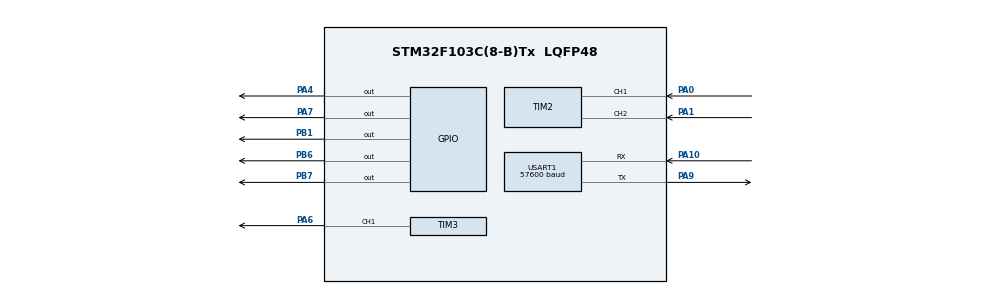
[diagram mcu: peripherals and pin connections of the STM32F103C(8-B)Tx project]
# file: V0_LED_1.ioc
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FREERTOS.Tasks01=my_Task,24,128,StartmyTask,Default,NULL,Dynamic,NULL,NULL
FREERTOS.configCHECK_FOR_STACK_OVERFLOW=2
FREERTOS.configTOTAL_HEAP_SIZE=8192
IWDG.Prescaler=IWDG_PRESCALER_64
IWDG.Reload=624
Mcu.Family=STM32F1
Mcu.Name=STM32F103C(8-B)Tx
Mcu.Package=LQFP48
NVIC.PriorityGroup=NVIC_PRIORITYGROUP_4
NVIC.TIM4_IRQn=true\:15\:0\:false\:false\:true\:false\:false\:true\:true
NVIC.TimeBase=TIM4_IRQn
NVIC.TimeBaseIP=TIM4
NVIC.USART1_IRQn=true\:5\:0\:false\:false\:true\:true\:true\:true\:true
PA0-WKUP.GPIO_PuPd=GPIO_PULLUP
PA0-WKUP.Signal=S_TIM2_CH1_ETR
PA1.GPIO_PuPd=GPIO_PULLUP
PA1.Signal=S_TIM2_CH2
PA10.Mode=Asynchronous
PA10.Signal=USART1_RX
PA13.Mode=Serial_Wire
PA13.Signal=SYS_JTMS-SWDIO
PA14.Mode=Serial_Wire
PA14.Signal=SYS_JTCK-SWCLK
PA4.GPIO_PuPd=GPIO_PULLUP
PA4.Signal=GPIO_Output
PA6.Signal=S_TIM3_CH1
PA7.GPIO_PuPd=GPIO_PULLUP
PA7.Signal=GPIO_Output
PA9.Mode=Asynchronous
PA9.Signal=USART1_TX
PB1.GPIO_PuPd=GPIO_PULLUP
PB1.Signal=GPIO_Output
PB6.GPIO_ModeDefaultOutputPP=GPIO_MODE_OUTPUT_OD
PB6.GPIO_PuPd=GPIO_PULLUP
PB6.GPIO_Speed=GPIO_SPEED_FREQ_HIGH
PB6.PinState=GPIO_PIN_SET
PB6.Signal=GPIO_Output
PB7.GPIO_ModeDefaultOutputPP=GPIO_MODE_OUTPUT_OD
PB7.GPIO_PuPd=GPIO_PULLUP
PB7.GPIO_Speed=GPIO_SPEED_FREQ_HIGH
PB7.PinState=GPIO_PIN_SET
PB7.Signal=GPIO_Output
PD0-OSC_IN.Mode=HSE-External-Oscillator
PD0-OSC_IN.Signal=RCC_OSC_IN
PD1-OSC_OUT.Mode=HSE-External-Oscillator
PD1-OSC_OUT.Signal=RCC_OSC_OUT
ProjectManager.HeapSize=0x200
ProjectManager.StackSize=0x400
ProjectManager.TargetToolchain=MDK-ARM V5.32
RCC.APB1Freq_Value=8000000
RCC.APB2Freq_Value=8000000
SH.S_TIM2_CH1_ETR.0=TIM2_CH1,Encoder_Interface
SH.S_TIM2_CH2.0=TIM2_CH2,Encoder_Interface
SH.S_TIM3_CH1.0=TIM3_CH1,PWM Generation1 CH1
TIM2.EncoderMode=TIM_ENCODERMODE_TI12
TIM3.AutoReloadPreload=TIM_AUTORELOAD_PRELOAD_ENABLE
TIM3.Channel-PWM\ Generation1\ CH1=TIM_CHANNEL_1
TIM3.Period=49
TIM3.Prescaler=7
USART1.BaudRate=57600
USART1.VirtualMode=VM_ASYNC
VP_FREERTOS_VS_CMSIS_V2.Mode=CMSIS_V2
VP_IWDG_VS_IWDG.Mode=IWDG_Activate
VP_SYS_VS_tim4.Mode=TIM4
board=custom

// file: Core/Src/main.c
/* USER CODE BEGIN Header */
/**
  ******************************************************************************
  * @file           : main.c
  * @brief          : Main program body
  ******************************************************************************
  * @attention
  *
  * Copyright (c) 2026 STMicroelectronics.
  * All rights reserved.
  *
  * This software is licensed under terms that can be found in the LICENSE file
  * in the root directory of this software component.
  * If no LICENSE file comes with this software, it is provided AS-IS.
  *
  ******************************************************************************
  */
/* USER CODE END Header */
#include "main.h"
#include "cmsis_os.h"

/* USER CODE BEGIN Includes */
#include <string.h>
#include <stdlib.h>
#include "FreeRTOS.h"
#include "task.h"
#include "semphr.h"
#include "ssd1306.h"
/* USER CODE END Includes */

/* USER CODE BEGIN PTD */
typedef struct { uint8_t x, y; } SnakePoint;
/* USER CODE END PTD */

/* USER CODE BEGIN PD */
#define GRID_W      16          /* game field: 16 x 7 cells (top 8px row = score) */
#define GRID_H      7
#define SNAKE_MAX   (GRID_W * GRID_H)
#define TURN_THRESH  3          /* encoder counts per turn decision */
#define TURN_LOCK_MS 200        /* debounce: ignore re-turns for this long */
#define START_SPEED_MS 200      /* ms per step, speeds up as score grows */
#define MIN_SPEED_MS    60
/* USER CODE END PD */

IWDG_HandleTypeDef hiwdg;

TIM_HandleTypeDef htim2;
TIM_HandleTypeDef htim3;

UART_HandleTypeDef huart1;

/* Definitions for my_Task */
osThreadId_t my_TaskHandle;
const osThreadAttr_t my_Task_attributes = {
  .name = "my_Task",
  .stack_size = 128 * 4,
  .priority = (osPriority_t) osPriorityNormal,
};
/* USER CODE BEGIN PV */
//=== Snake game state (SnakeControl writes, DisplayTask reads) ===
SnakePoint g_snake[SNAKE_MAX];
uint8_t    g_snake_len;
uint8_t    g_dir;             // 0=右 1=下 2=左 3=上
SnakePoint g_food;
uint16_t   g_score;
uint16_t   g_speed_ms;        // ms per step, 200 start -> 60 min
uint8_t    g_state;           // 0=PLAYING 1=GAME_OVER
/* USER CODE END PV */

void SystemClock_Config(void);
static void MX_GPIO_Init(void);
static void MX_TIM3_Init(void);
static void MX_TIM2_Init(void);
static void MX_USART1_UART_Init(void);
static void MX_IWDG_Init(void);
void StartmyTask(void *argument);

/* USER CODE BEGIN PFP */
void SnakeControlTask(void *argument);
void CommTask(void *argument);
void DiagTask(void *argument);
void DisplayTask(void *argument);
void snake_init(void);
void snake_step(void);
void spawn_food(void);
static uint8_t food_on_snake(void);
/* USER CODE END PFP */

/* USER CODE BEGIN 0 */
void uart_send_str(const char *s)
{
    while (*s)
    {
        HAL_UART_Transmit(&huart1, (uint8_t *)s, 1, 10);
        s++;
    }
}
// send a signed int16 as ASCII digits
void uart_print_int(int16_t val)
{
    char buf[12];
    int i = 0;
    int neg = 0;

    if (val < 0)
    {
        neg = 1;
        val = -val;
    }

    if (val == 0)
    {
        buf[i++] = '0';
    }
    else
    {
        while (val > 0)
        {
            buf[i++] = '0' + (val % 10);
            val = val / 10;
        }
    }

    if (neg)
        buf[i++] = '-';

    // reverse digit order
    int start = 0, end = i - 1;
    while (start < end)
    {
        char tmp = buf[start];
        buf[start] = buf[end];
        buf[end] = tmp;
        start++;
        end--;
    }

    buf[i] = '\0';
    HAL_UART_Transmit(&huart1, (uint8_t *)buf, i, 10);
}

//==== Snake game logic ========================================================
void snake_init(void)
{
    g_snake_len = 3;
    g_snake[0].x = 8; g_snake[0].y = 3;
    g_snake[1].x = 7; g_snake[1].y = 3;
    g_snake[2].x = 6; g_snake[2].y = 3;
    g_dir       = 0;              // 向右
    g_score     = 0;
    g_speed_ms  = START_SPEED_MS;
    g_state     = 0;              // PLAYING
    spawn_food();
}

// 伪随机生成食物，落在空格里（FreeRTOS tick 做熵源 + LCG）
void spawn_food(void)
{
    uint32_t seed = xTaskGetTickCount();
    for (uint16_t tries = 0; tries < 200; tries++)
    {
        seed = seed * 1103515245u + 12345u;    // LCG
        g_food.x = (uint8_t)((seed >> 8)  % GRID_W);
        g_food.y = (uint8_t)((seed >> 16) % GRID_H);
        if (!food_on_snake()) return;
    }
    // 兜底：200 次都撞上蛇的概率极低，扫第一个空格
    for (uint8_t y = 0; y < GRID_H; y++)
        for (uint8_t x = 0; x < GRID_W; x++)
        {
            g_food.x = x; g_food.y = y;
            if (!food_on_snake()) return;
        }
}

static uint8_t food_on_snake(void)
{
    for (uint8_t i = 0; i < g_snake_len; i++)
        if (g_snake[i].x == g_food.x && g_snake[i].y == g_food.y) return 1;
    return 0;
}

// 前进一格。撞墙/撞自己 -> GAME_OVER；吃到食物 -> 长+1、分+1、加速、换食物
void snake_step(void)
{
    int16_t nx = g_snake[0].x, ny = g_snake[0].y;
    switch (g_dir)
    {
        case 0: nx++; break;    // 右
        case 1: ny++; break;    // 下
        case 2: nx--; break;    // 左
        case 3: ny--; break;    // 上
    }
    if (nx < 0 || nx >= GRID_W || ny < 0 || ny >= GRID_H) { g_state = 1; return; }

    uint8_t eat = (nx == g_food.x && ny == g_food.y);
    // 撞自己：吃到食物时尾巴保留，查全身；否则尾巴这步会移走，不查它
    uint8_t body = eat ? g_snake_len : (uint8_t)(g_snake_len - 1);
    for (uint8_t i = 0; i < body; i++)
        if (g_snake[i].x == nx && g_snake[i].y == ny) { g_state = 1; return; }

    // 头插入，尾丢弃（吃到时长度+1，尾巴保留）。蛇最长 SNAKE_MAX 格，
    // 满格时移位会写 g_snake[SNAKE_MAX]（越界1），已满则视为胜利结束。
    if (g_snake_len >= SNAKE_MAX) { g_state = 1; return; }
    for (uint8_t i = g_snake_len; i > 0; i--) g_snake[i] = g_snake[i - 1];
    g_snake[0].x = (uint8_t)nx;
    g_snake[0].y = (uint8_t)ny;

    if (eat)
    {
        g_snake_len++;
        g_score++;
        if (g_speed_ms > MIN_SPEED_MS) g_speed_ms -= 10;
        spawn_food();
    }
}

/* USER CODE END 0 */

int main(void)
{

  /* MCU Configuration--------------------------------------------------------*/

  /* Reset of all peripherals, Initializes the Flash interface and the Systick. */
  HAL_Init();

  /* Configure the system clock */
  SystemClock_Config();

  /* Initialize all configured peripherals */
  MX_GPIO_Init();
  MX_TIM3_Init();
  MX_TIM2_Init();
  MX_USART1_UART_Init();
  MX_IWDG_Init();
  /* USER CODE BEGIN 2 */
// 编码器清零并启动（TIM2 硬件编码器模式，PA0=A 相 PA1=B 相，来自 JGA25-370）
__HAL_TIM_SET_COUNTER(&htim2, 0);
HAL_TIM_Encoder_Start(&htim2, TIM_CHANNEL_ALL);

// OLED: software I2C on PB6(SCL)/PB7(SDA), powered from 3V3. Init here before
// the scheduler starts (one-shot, <200ms << 1s IWDG timeout). From now on
// DisplayTask is the only owner of the I2C bus.
OLED_Init();

// Report the OLED init result as a banner line (observable self-diagnostic for
// a dead display: a disconnected OLED has no power to show text).
if (g_oled_nack)
    uart_send_str("OLED: FAIL (check VCC/GND/SCL/SDA wiring)\r\n");
else
    uart_send_str("OLED: OK\r\n");

// 初始化贪吃蛇，打启动横幅（串口日志，57600 8N1）
snake_init();
uart_send_str("Snake Start. Rotate motor shaft: CW = turn right, CCW = turn left\r\n");

// Create the application tasks before the scheduler starts (osKernelStart()
// runs below). SnakeControlTask: 20ms 编码器判向 + 游戏状态机; CommTask: 串口
// 事件日志; DiagTask: 心跳 + 喂狗; DisplayTask: OLED 绘制（I2C 唯一主人）。
xTaskCreate(SnakeControlTask, "SnakeCtrl", 256, NULL, 3, NULL);
xTaskCreate(CommTask,         "Comm",      256, NULL, 2, NULL);
xTaskCreate(DiagTask,         "Diag",      128, NULL, 1, NULL);
xTaskCreate(DisplayTask,      "Disp",      256, NULL, 1, NULL);
  /* USER CODE END 2 */

  /* Init scheduler */
  osKernelInitialize();

  /* Create the thread(s) */
  /* creation of my_Task */
  my_TaskHandle = osThreadNew(StartmyTask, NULL, &my_Task_attributes);

  /* Start scheduler */
  osKernelStart();

  /* We should never get here as control is now taken by the scheduler */

  /* Infinite loop */
  while (1)
  {

    /* USER CODE BEGIN 3 */
    // The FreeRTOS scheduler now owns the CPU (osKernelStart() never returns).
    // All application work lives in SnakeControlTask / CommTask / DiagTask /
    // DisplayTask.
}
  /* USER CODE END 3 */
}

void SystemClock_Config(void)
{
  RCC_OscInitTypeDef RCC_OscInitStruct = {0};
  RCC_ClkInitTypeDef RCC_ClkInitStruct = {0};

  /** Initializes the RCC Oscillators according to the specified parameters
  * in the RCC_OscInitTypeDef structure.
  */
  RCC_OscInitStruct.OscillatorType = RCC_OSCILLATORTYPE_HSI|RCC_OSCILLATORTYPE_LSI;
  RCC_OscInitStruct.HSIState = RCC_HSI_ON;
  RCC_OscInitStruct.HSICalibrationValue = RCC_HSICALIBRATION_DEFAULT;
  RCC_OscInitStruct.LSIState = RCC_LSI_ON;
  RCC_OscInitStruct.PLL.PLLState = RCC_PLL_NONE;
  if (HAL_RCC_OscConfig(&RCC_OscInitStruct) != HAL_OK)
  {
    Error_Handler();
  }

  /** Initializes the CPU, AHB and APB buses clocks
  */
  RCC_ClkInitStruct.ClockType = RCC_CLOCKTYPE_HCLK|RCC_CLOCKTYPE_SYSCLK
                              |RCC_CLOCKTYPE_PCLK1|RCC_CLOCKTYPE_PCLK2;
  RCC_ClkInitStruct.SYSCLKSource = RCC_SYSCLKSOURCE_HSI;
  RCC_ClkInitStruct.AHBCLKDivider = RCC_SYSCLK_DIV1;
  RCC_ClkInitStruct.APB1CLKDivider = RCC_HCLK_DIV1;
  RCC_ClkInitStruct.APB2CLKDivider = RCC_HCLK_DIV1;

  if (HAL_RCC_ClockConfig(&RCC_ClkInitStruct, FLASH_LATENCY_0) != HAL_OK)
  {
    Error_Handler();
  }
}

static void MX_IWDG_Init(void)
{

  hiwdg.Instance = IWDG;
  hiwdg.Init.Prescaler = IWDG_PRESCALER_64;
  hiwdg.Init.Reload = 624;
  if (HAL_IWDG_Init(&hiwdg) != HAL_OK)
  {
    Error_Handler();
  }

}

static void MX_TIM2_Init(void)
{

  TIM_Encoder_InitTypeDef sConfig = {0};
  TIM_MasterConfigTypeDef sMasterConfig = {0};

  htim2.Instance = TIM2;
  htim2.Init.Prescaler = 0;
  htim2.Init.CounterMode = TIM_COUNTERMODE_UP;
  htim2.Init.Period = 65535;
  htim2.Init.ClockDivision = TIM_CLOCKDIVISION_DIV1;
  htim2.Init.AutoReloadPreload = TIM_AUTORELOAD_PRELOAD_DISABLE;
  sConfig.EncoderMode = TIM_ENCODERMODE_TI12;
  sConfig.IC1Polarity = TIM_ICPOLARITY_RISING;
  sConfig.IC1Selection = TIM_ICSELECTION_DIRECTTI;
  sConfig.IC1Prescaler = TIM_ICPSC_DIV1;
  sConfig.IC1Filter = 0;
  sConfig.IC2Polarity = TIM_ICPOLARITY_RISING;
  sConfig.IC2Selection = TIM_ICSELECTION_DIRECTTI;
  sConfig.IC2Prescaler = TIM_ICPSC_DIV1;
  sConfig.IC2Filter = 0;
  if (HAL_TIM_Encoder_Init(&htim2, &sConfig) != HAL_OK)
  {
    Error_Handler();
  }
  sMasterConfig.MasterOutputTrigger = TIM_TRGO_RESET;
  sMasterConfig.MasterSlaveMode = TIM_MASTERSLAVEMODE_DISABLE;
  if (HAL_TIMEx_MasterConfigSynchronization(&htim2, &sMasterConfig) != HAL_OK)
  {
    Error_Handler();
  }

}

static void MX_TIM3_Init(void)
{

  TIM_MasterConfigTypeDef sMasterConfig = {0};
  TIM_OC_InitTypeDef sConfigOC = {0};

  htim3.Instance = TIM3;
  htim3.Init.Prescaler = 7;
  htim3.Init.CounterMode = TIM_COUNTERMODE_UP;
  htim3.Init.Period = 49;
  htim3.Init.ClockDivision = TIM_CLOCKDIVISION_DIV1;
  htim3.Init.AutoReloadPreload = TIM_AUTORELOAD_PRELOAD_ENABLE;
  if (HAL_TIM_PWM_Init(&htim3) != HAL_OK)
  {
    Error_Handler();
  }
  sMasterConfig.MasterOutputTrigger = TIM_TRGO_RESET;
  sMasterConfig.MasterSlaveMode = TIM_MASTERSLAVEMODE_DISABLE;
  if (HAL_TIMEx_MasterConfigSynchronization(&htim3, &sMasterConfig) != HAL_OK)
  {
    Error_Handler();
  }
  sConfigOC.OCMode = TIM_OCMODE_PWM1;
  sConfigOC.Pulse = 0;
  sConfigOC.OCPolarity = TIM_OCPOLARITY_HIGH;
  sConfigOC.OCFastMode = TIM_OCFAST_DISABLE;
  if (HAL_TIM_PWM_ConfigChannel(&htim3, &sConfigOC, TIM_CHANNEL_1) != HAL_OK)
  {
    Error_Handler();
  }
  HAL_TIM_MspPostInit(&htim3);

}

static void MX_USART1_UART_Init(void)
{

  huart1.Instance = USART1;
  huart1.Init.BaudRate = 57600;
  huart1.Init.WordLength = UART_WORDLENGTH_8B;
  huart1.Init.StopBits = UART_STOPBITS_1;
  huart1.Init.Parity = UART_PARITY_NONE;
  huart1.Init.Mode = UART_MODE_TX_RX;
  huart1.Init.HwFlowCtl = UART_HWCONTROL_NONE;
  huart1.Init.OverSampling = UART_OVERSAMPLING_16;
  if (HAL_UART_Init(&huart1) != HAL_OK)
  {
    Error_Handler();
  }

}

static void MX_GPIO_Init(void)
{
  GPIO_InitTypeDef GPIO_InitStruct = {0};

  /* GPIO Ports Clock Enable */
  __HAL_RCC_GPIOD_CLK_ENABLE();
  __HAL_RCC_GPIOA_CLK_ENABLE();
  __HAL_RCC_GPIOB_CLK_ENABLE();

  /*Configure GPIO pin Output Level */
  HAL_GPIO_WritePin(GPIOA, GPIO_PIN_4|GPIO_PIN_7, GPIO_PIN_RESET);

  /*Configure GPIO pin Output Level */
  HAL_GPIO_WritePin(GPIOB, GPIO_PIN_1, GPIO_PIN_RESET);

  /*Configure GPIO pin Output Level */
  HAL_GPIO_WritePin(GPIOB, GPIO_PIN_6|GPIO_PIN_7, GPIO_PIN_SET);

  /*Configure GPIO pins : PA4 PA7 */
  GPIO_InitStruct.Pin = GPIO_PIN_4|GPIO_PIN_7;
  GPIO_InitStruct.Mode = GPIO_MODE_OUTPUT_PP;
  GPIO_InitStruct.Pull = GPIO_PULLUP;
  GPIO_InitStruct.Speed = GPIO_SPEED_FREQ_LOW;
  HAL_GPIO_Init(GPIOA, &GPIO_InitStruct);

  /*Configure GPIO pin : PB1 */
  GPIO_InitStruct.Pin = GPIO_PIN_1;
  GPIO_InitStruct.Mode = GPIO_MODE_OUTPUT_PP;
  GPIO_InitStruct.Pull = GPIO_PULLUP;
  GPIO_InitStruct.Speed = GPIO_SPEED_FREQ_LOW;
  HAL_GPIO_Init(GPIOB, &GPIO_InitStruct);

  /*Configure GPIO pins : PB6 PB7 */
  GPIO_InitStruct.Pin = GPIO_PIN_6|GPIO_PIN_7;
  GPIO_InitStruct.Mode = GPIO_MODE_OUTPUT_OD;
  GPIO_InitStruct.Pull = GPIO_PULLUP;
  GPIO_InitStruct.Speed = GPIO_SPEED_FREQ_HIGH;
  HAL_GPIO_Init(GPIOB, &GPIO_InitStruct);

}

/* USER CODE BEGIN 4 */

//===========================================================================
// FreeRTOS task 1: 20ms - read encoder knob, steer the snake, advance it
// at g_speed_ms cadence. Owns all game-state writes (single-writer rule).
//===========================================================================
void SnakeControlTask(void *argument)
{
    TickType_t xLastWakeTime = xTaskGetTickCount();
    int16_t prev_enc = 0;
    TickType_t last_turn = 0;       // debounce: when the last turn was applied
    TickType_t last_step = 0;       // when the snake last moved one cell

    for (;;)
    {
        vTaskDelayUntil(&xLastWakeTime, pdMS_TO_TICKS(20));

        //---- read encoder delta (signed int16 handles counter wrap) ----
        int16_t cur = (int16_t)__HAL_TIM_GET_COUNTER(&htim2);
        int16_t delta = cur - prev_enc;
        prev_enc = cur;

        //---- GAME_OVER: any real knob turn restarts ----
        if (g_state == 1)
        {
            if (delta >= TURN_THRESH || delta <= -TURN_THRESH)
            {
                snake_init();
                uart_send_str("[Snake] restart\r\n");
            }
            continue;
        }

        //---- steering: CW -> turn right, CCW -> turn left, debounced ----
        if ((delta >= TURN_THRESH || delta <= -TURN_THRESH) &&
            (xTaskGetTickCount() - last_turn) >= TURN_LOCK_MS)
        {
            if (delta > 0)
                g_dir = (uint8_t)((g_dir + 1) % 4);   // CW: 右转
            else
                g_dir = (uint8_t)((g_dir + 3) % 4);   // CCW: 左转
            last_turn = xTaskGetTickCount();
        }

        //---- advance one cell at g_speed_ms cadence ----
        if ((xTaskGetTickCount() - last_step) >= g_speed_ms)
        {
            last_step = xTaskGetTickCount();
            snake_step();
            if (g_state == 1)
                uart_send_str("[Snake] game over\r\n");
        }
    }
}

//===========================================================================
// FreeRTOS task 2: serial log of game events (game over / score milestones)
//===========================================================================
void CommTask(void *argument)
{
    uint8_t last_state = g_state;
    uint16_t last_score = g_score;

    for (;;)
    {
        vTaskDelay(pdMS_TO_TICKS(100));

        // score increased -> an "eat" happened (report new score/length)
        if (g_state == 0 && g_score != last_score)
        {
            last_score = g_score;
            uart_send_str("[Snake] eat score="); uart_print_int(g_score);
            uart_send_str(" len="); uart_print_int(g_snake_len);
            uart_send_str(" speed="); uart_print_int(g_speed_ms);
            uart_send_str("ms\r\n");
        }
        if (g_state != last_state)
        {
            last_state = g_state;
            last_score = g_score;
        }
    }
}

//===========================================================================
// FreeRTOS task 3: LED heartbeat + IWDG feed (lowest priority, only feeder)
//===========================================================================
void DiagTask(void *argument)
{
    uint32_t led_cnt = 0;

    for (;;)
    {
        HAL_IWDG_Refresh(&hiwdg);   // feed the 1s IWDG watchdog - DiagTask is the ONLY feeder
        vTaskDelay(pdMS_TO_TICKS(50));

        if (++led_cnt >= 10) { led_cnt = 0; HAL_GPIO_TogglePin(GPIOA, GPIO_PIN_4); }  // 500ms heartbeat
    }
}

//===========================================================================
// FreeRTOS task 4: OLED display (software I2C on PB6/PB7, lowest priority).
// 128x64 screen: top row (page 0) = score bar, below = 16x7 cell field.
// Every 100ms redraw the whole field into the framebuffer and Flush only
// the pages that changed (dirty-page mechanism in the driver).
//===========================================================================
static void fmt_uint(char *out, uint16_t v, uint8_t width)
{
    // Right-justified unsigned integer into a fixed 'width' cell (space padded).
    // Avoids snprintf, which would drag the whole printf family into flash.
    char tmp[8];
    uint8_t i = 0;
    do {
        tmp[i++] = (char)('0' + (v % 10));
        v = (uint16_t)(v / 10);
    } while (v > 0 && i < 7);
    while (i < width) tmp[i++] = ' ';
    for (uint8_t j = 0; j < width; j++)
        out[j] = tmp[width - 1 - j];
    out[width] = '\0';
}

// draw one 8x8 grid cell as a 6x6 solid square (1px margin for a clean grid)
static void draw_cell(uint8_t gx, uint8_t gy, uint8_t on)
{
    if (gx >= GRID_W || gy >= GRID_H) return;
    uint8_t x0 = (uint8_t)(gx * 8 + 1);
    uint8_t y0 = (uint8_t)(8 + gy * 8 + 1);   // page 0 is the score bar
    OLED_FillRect(x0, y0, (uint8_t)(x0 + 5), (uint8_t)(y0 + 5), on);
}

void DisplayTask(void *argument)
{
    char b[8];
    uint8_t blink = 0;
    uint8_t cnt = 0;

    OLED_Clear();
    OLED_DrawString(0, 0, "SCORE ");
    OLED_Flush();

    for (;;)
    {
        vTaskDelay(pdMS_TO_TICKS(100));     // 10 Hz refresh

        if (g_state == 1)
        {
            // game over screen: keep it simple, redraw every cycle
            OLED_Clear();
            OLED_DrawString(2, 32, "GAME OVER");
            OLED_DrawString(4, 16, "SCORE ");
            fmt_uint(b, g_score, 4);
            OLED_DrawString(4, 64, b);
            OLED_DrawString(6, 8, "TURN TO RESTART");
            OLED_Flush();
            continue;
        }

        // ---- playing: redraw whole field each cycle ----
        OLED_Clear();
        OLED_DrawString(0, 0, "SCORE ");
        fmt_uint(b, g_score, 4);
        OLED_DrawString(0, 48, b);

        // snake body
        for (uint8_t i = 0; i < g_snake_len; i++)
            draw_cell(g_snake[i].x, g_snake[i].y, 1);
        // food: a hollow 8x8 outline so it reads differently from the snake
        if (g_food.x < GRID_W && g_food.y < GRID_H)
        {
            uint8_t x0 = (uint8_t)(g_food.x * 8);
            uint8_t y0 = (uint8_t)(8 + g_food.y * 8);
            OLED_FillRect(x0, y0, (uint8_t)(x0 + 7), (uint8_t)(y0 + 7), 1);
        }

        // blinking dot on the score row = task alive
        if (++cnt >= 5)
        {
            cnt = 0;
            blink = (uint8_t)!blink;
            OLED_SetPixel(126, 0, blink);
        }

        OLED_Flush();           // push only the pages that changed
    }
}

/* USER CODE END 4 */

void StartmyTask(void *argument)
{
  for(;;)
  {
    osDelay(1);
  }
}

void HAL_TIM_PeriodElapsedCallback(TIM_HandleTypeDef *htim)
{
  if (htim->Instance == TIM4)
  {
    HAL_IncTick();
  }
}

void Error_Handler(void)
{
  __disable_irq();
  while (1)
  {
  }
}
